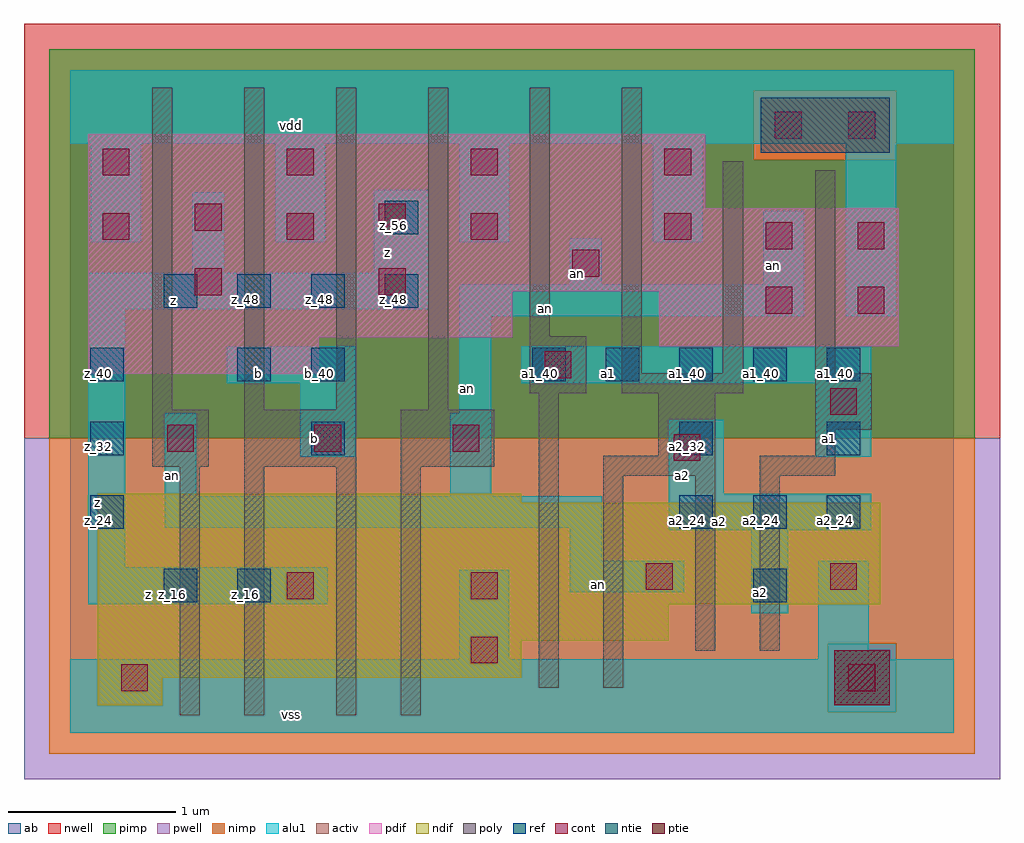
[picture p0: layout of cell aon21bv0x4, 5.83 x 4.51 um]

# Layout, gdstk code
import gdstk
lib = gdstk.Library(unit=1e-6, precision=2.5e-09)
def R(c, l, rs):  # rectangles x0, y0, x1, y1
    for r in rs: c.add(gdstk.rectangle(r[:2], r[2:], *l))
def A(c, l, x, y, w, h, nx, ny, dx, dy):  # array of equal rectangles
    R(c, l, [(x+i*dx, y+j*dy, x+i*dx+w, y+j*dy+h) for i in range(nx) for j in range(ny)])
ndif = (3, 0)
pdif = (4, 0)
ntie = (5, 0)
ptie = (6, 0)
ref = (24, 0)
cont = (25, 0)
pwell = (41, 0)
nwell = (42, 0)
activ = (43, 0)
pimp = (44, 0)
nimp = (45, 0)
poly = (46, 0)
alu1 = (49, 0)
ab = (63, 0)

aon21bv0x4 = lib.new_cell('aon21bv0x4')
R(aon21bv0x4, ndif, [(0.165,0.165,0.55,0.33), (0.165,0.33,2.695,0.55), (0.165,0.55,3.575,0.77), (0.165,0.77,4.84,1.375), (0.165,1.375,2.695,1.43)])
R(aon21bv0x4, pdif, [(0.11,2.145,1.485,2.365), (3.52,2.31,4.95,2.64), (0.11,2.365,2.64,2.64), (0.11,2.64,4.95,3.135), (0.11,3.135,3.795,3.575)])
R(aon21bv0x4, ntie, [(4.125,3.465,4.895,3.795)])
R(aon21bv0x4, ptie, [(4.565,0.165,4.895,0.495)])
A(aon21bv0x4, ref, 0.12, 1.22, 0.2, 0.2, 1, 3, 0, 0.44)
A(aon21bv0x4, ref, 3.64, 1.22, 0.2, 0.2, 3, 1, 0.44, 0)
A(aon21bv0x4, ref, 2.76, 2.1, 0.2, 0.2, 5, 1, 0.44, 0)
A(aon21bv0x4, ref, 0.56, 2.54, 0.2, 0.2, 4, 1, 0.44, 0)
R(aon21bv0x4, ref, [(0.56,0.78,0.76,0.98), (1,0.78,1.2,0.98), (4.08,0.78,4.28,0.98), (1.44,1.66,1.64,1.86), (3.64,1.66,3.84,1.86), (4.52,1.66,4.72,1.86), (1,2.1,1.2,2.3), (1.44,2.1,1.64,2.3), (1.88,2.98,2.08,3.18)])
A(aon21bv0x4, cont, 0.195, 2.945, 0.16, 0.16, 3, 2, 1.1, 0.385)
R(aon21bv0x4, cont, [(0.305,0.25,0.465,0.41), (4.65,0.25,4.81,0.41), (2.395,0.415,2.555,0.575), (1.295,0.8,1.455,0.96), (2.395,0.8,2.555,0.96), (3.44,0.855,3.6,1.015), (4.54,0.855,4.7,1.015), (3.605,1.625,3.765,1.785), (0.58,1.68,0.74,1.84), (1.46,1.68,1.62,1.84), (2.285,1.68,2.445,1.84), (4.54,1.9,4.7,2.06), (2.835,2.12,2.995,2.28), (4.155,2.505,4.315,2.665), (4.705,2.505,4.865,2.665), (0.745,2.615,0.905,2.775), (1.845,2.615,2.005,2.775), (3,2.725,3.16,2.885), (4.155,2.89,4.315,3.05), (4.705,2.89,4.865,3.05), (3.55,2.945,3.71,3.105), (0.745,3,0.905,3.16), (1.845,3,2.005,3.16), (3.55,3.33,3.71,3.49), (4.21,3.55,4.37,3.71), (4.65,3.55,4.81,3.71)])
R(aon21bv0x4, pwell, [(-0.275,-0.275,5.555,1.76)])
R(aon21bv0x4, nwell, [(-0.275,1.76,5.555,4.235)])
R(aon21bv0x4, activ, [(0.165,0.165,0.55,0.33), (4.565,0.165,4.895,0.495), (0.165,0.33,2.695,0.55), (0.165,0.55,3.575,0.77), (0.165,0.77,4.84,1.375), (0.165,1.375,2.695,1.43), (0.11,2.145,1.485,2.365), (3.52,2.31,4.95,2.64), (0.11,2.365,2.64,2.64), (0.11,2.64,4.95,3.135), (0.11,3.135,3.795,3.575), (4.125,3.465,4.895,3.795)])
R(aon21bv0x4, pimp, [(4.525,0.125,4.935,0.535), (-0.125,1.76,5.405,3.425), (-0.125,3.425,4.085,3.835), (4.935,3.425,5.405,3.835), (-0.125,3.835,5.405,4.085)])
R(aon21bv0x4, nimp, [(-0.125,-0.125,5.405,0.125), (-0.125,0.125,4.525,0.535), (4.935,0.125,5.405,0.535), (-0.125,0.535,5.405,1.76), (4.085,3.425,4.935,3.835)])
A(aon21bv0x4, poly, 0.49, 1.93, 0.12, 1.925, 4, 1, 0.55, 0)
R(aon21bv0x4, poly, [(0.655,0.105,0.775,1.59), (1.04,0.105,1.16,1.59), (1.59,0.105,1.71,1.59), (1.975,0.105,2.095,1.59), (2.8,0.27,2.92,2.03), (3.185,0.27,3.305,1.535), (3.735,0.49,3.855,1.535), (4.12,0.49,4.24,1.535), (3.185,1.535,3.855,1.655), (4.12,1.535,4.57,1.655), (0.49,1.59,0.83,1.93), (1.04,1.59,1.71,1.93), (1.975,1.59,2.535,1.93), (3.515,1.655,3.855,2.03), (4.45,1.655,4.57,1.81), (4.45,1.81,4.79,2.15), (2.745,2.03,3.085,2.37), (3.295,2.03,4.02,2.15), (3.295,2.15,3.415,3.855), (3.9,2.15,4.02,3.415), (4.45,2.15,4.57,3.36), (2.745,2.37,2.865,3.855)])
A(aon21bv0x4, alu1, 0.125, 2.93, 0.3, 0.59, 3, 1, 1.1, 0)
R(aon21bv0x4, alu1, [(0,0,5.28,0.44), (2.325,0.44,2.625,0.975), (4.47,0.44,4.77,1.03), (4.07,0.715,4.29,1.21), (0.11,0.77,1.54,0.99), (2.985,0.84,3.67,1.03), (0.11,0.99,0.33,2.53), (2.985,1.03,3.175,1.225), (3.575,1.21,4.785,1.43), (0.565,1.225,3.175,1.415), (0.565,1.415,0.755,1.91), (2.27,1.415,2.515,1.91), (3.575,1.43,3.905,1.87), (1.375,1.65,1.705,2.09), (4.455,1.65,4.785,2.09), (2.325,1.91,2.515,2.49), (0.935,2.09,1.705,2.31), (2.695,2.09,4.785,2.31), (2.325,2.49,4.385,2.68), (4.635,2.49,4.935,3.52), (0.11,2.53,2.145,2.75), (2.985,2.68,3.175,2.955), (4.14,2.68,4.385,3.12), (0.73,2.75,0.92,3.23), (1.815,2.75,2.145,3.245), (3.48,2.93,3.78,3.52), (0,3.52,5.28,3.96)])
R(aon21bv0x4, ab, [(0,0,5.28,3.96)])
aon21bv0x4.add(gdstk.Label('vss', (1.32,0.11), layer=49, texttype=0))
aon21bv0x4.add(gdstk.Label('a2', (4.125,0.8375), layer=49, texttype=0))
aon21bv0x4.add(gdstk.Label('an', (3.155,0.8875), layer=49, texttype=0))
aon21bv0x4.add(gdstk.Label('z', (0.4675,0.825), layer=49, texttype=0))
aon21bv0x4.add(gdstk.Label('a2', (3.8775,1.265), layer=49, texttype=0))
aon21bv0x4.add(gdstk.Label('a1', (4.5375,1.76), layer=49, texttype=0))
aon21bv0x4.add(gdstk.Label('a2', (3.6575,1.54), layer=49, texttype=0))
aon21bv0x4.add(gdstk.Label('a1', (3.2175,2.145), layer=49, texttype=0))
aon21bv0x4.add(gdstk.Label('an', (2.3725,2.055), layer=49, texttype=0))
aon21bv0x4.add(gdstk.Label('b', (1.4575,1.76), layer=49, texttype=0))
aon21bv0x4.add(gdstk.Label('an', (0.6125,1.5375), layer=49, texttype=0))
aon21bv0x4.add(gdstk.Label('b', (1.1275,2.145), layer=49, texttype=0))
aon21bv0x4.add(gdstk.Label('an', (2.84,2.5375), layer=49, texttype=0))
aon21bv0x4.add(gdstk.Label('z', (0.165,1.375), layer=49, texttype=0))
aon21bv0x4.add(gdstk.Label('an', (4.2,2.79), layer=49, texttype=0))
aon21bv0x4.add(gdstk.Label('an', (3.0325,2.7475), layer=49, texttype=0))
aon21bv0x4.add(gdstk.Label('z', (0.6175,2.585), layer=49, texttype=0))
aon21bv0x4.add(gdstk.Label('z', (1.8975,2.8725), layer=49, texttype=0))
aon21bv0x4.add(gdstk.Label('vdd', (1.32,3.63), layer=49, texttype=0))
aon21bv0x4.add(gdstk.Label('z_16', (0.61,0.83), layer=24, texttype=0))
aon21bv0x4.add(gdstk.Label('z_48', (0.61,2.59), layer=24, texttype=0))
aon21bv0x4.add(gdstk.Label('z_16', (1.05,0.83), layer=24, texttype=0))
aon21bv0x4.add(gdstk.Label('b_40', (1.05,2.15), layer=24, texttype=0))
aon21bv0x4.add(gdstk.Label('z_48', (1.05,2.59), layer=24, texttype=0))
aon21bv0x4.add(gdstk.Label('b_32', (1.49,1.71), layer=24, texttype=0))
aon21bv0x4.add(gdstk.Label('b_40', (1.49,2.15), layer=24, texttype=0))
aon21bv0x4.add(gdstk.Label('z_48', (1.49,2.59), layer=24, texttype=0))
aon21bv0x4.add(gdstk.Label('z_48', (1.93,2.59), layer=24, texttype=0))
aon21bv0x4.add(gdstk.Label('z_56', (1.93,3.03), layer=24, texttype=0))
aon21bv0x4.add(gdstk.Label('z_24', (0.17,1.27), layer=24, texttype=0))
aon21bv0x4.add(gdstk.Label('z_32', (0.17,1.71), layer=24, texttype=0))
aon21bv0x4.add(gdstk.Label('z_40', (0.17,2.15), layer=24, texttype=0))
aon21bv0x4.add(gdstk.Label('a1_40', (2.81,2.15), layer=24, texttype=0))
aon21bv0x4.add(gdstk.Label('a1_40', (3.25,2.15), layer=24, texttype=0))
aon21bv0x4.add(gdstk.Label('a2_24', (3.69,1.27), layer=24, texttype=0))
aon21bv0x4.add(gdstk.Label('a2_32', (3.69,1.71), layer=24, texttype=0))
aon21bv0x4.add(gdstk.Label('a1_40', (3.69,2.15), layer=24, texttype=0))
aon21bv0x4.add(gdstk.Label('a2_16', (4.13,0.83), layer=24, texttype=0))
aon21bv0x4.add(gdstk.Label('a2_24', (4.13,1.27), layer=24, texttype=0))
aon21bv0x4.add(gdstk.Label('a1_40', (4.13,2.15), layer=24, texttype=0))
aon21bv0x4.add(gdstk.Label('a2_24', (4.57,1.27), layer=24, texttype=0))
aon21bv0x4.add(gdstk.Label('a1_32', (4.57,1.71), layer=24, texttype=0))
aon21bv0x4.add(gdstk.Label('a1_40', (4.57,2.15), layer=24, texttype=0))

lib.write_gds('aon21bv0x4.gds')
